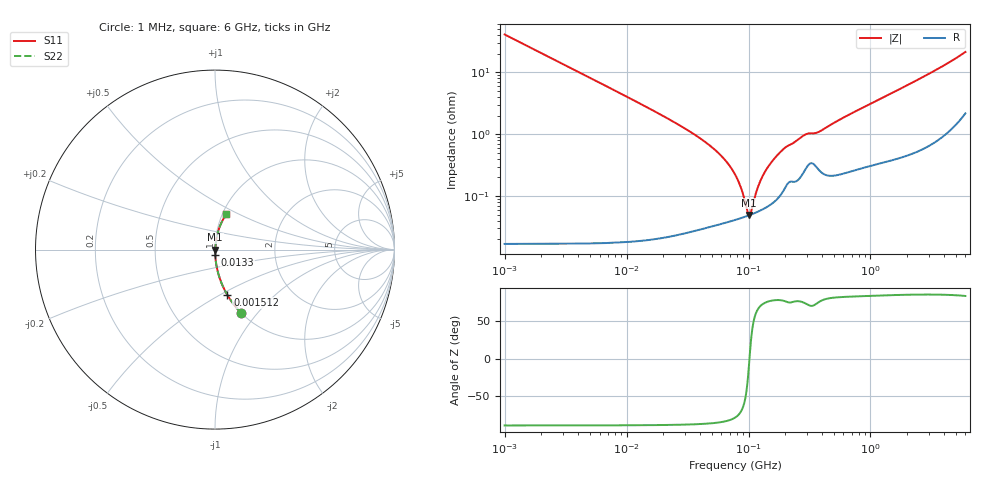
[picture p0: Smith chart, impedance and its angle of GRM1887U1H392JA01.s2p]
!Murata Part Number: GRM1887U1H392JA01
!These Parameters are Measured in Series Mode Connection
!Data Generated on Mar 30, 2021
!  o--ll--o
!Port1  Port2
!  o------o
!Operation Temp=25[degC], DC Bias Voltage=0[V]
!Freq. Start=1000[kHz] Stop=6[GHz] 401[Steps]
# Hz S RI R 50
!Freq.(Hz) S11(Real) S11(Imag) S21(Real) S21(Imag) S12(Real) S12(Imag) S22(Real) S22(Imag)
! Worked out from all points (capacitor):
!   401 points, 1 MHz to 6 GHz, reference 50 ohm
!   read as one part in series: C = 3.88 nF near 1.044 MHz
!   lowest |Z| = 49.6 mohm at 100.6 MHz (marker M1)
!   series resonance near 101.8 MHz, so ESL is about 630 pH
!   S11 on the Smith chart (normalised r, x): 1 MHz: 1.00, -0.82; 1.512 MHz: 1.00, -0.54; 13.3 MHz: 1.00, -0.06; 6 GHz: 1.04, +0.43
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1000000  0.1444 -0.3513  0.8556 0.3513  0.8556 0.3513  0.1444 -0.3513
1511688  0.0689 -0.2529  0.9311 0.2529  0.9311 0.2529  0.0689 -0.2529
4293785  0.0092 -0.0946  0.9908 0.0946  0.9908 0.0946  0.0092 -0.0946
1.330454e7  0.00111 -0.0303  0.9989 0.0303  0.9989 0.0303  0.00111 -0.0303
1.843659e7  0.000667 -0.0215  0.9993 0.0215  0.9993 0.0215  0.000667 -0.0215
4.800399e7  0.000358 -0.00659  0.9996 0.00659  0.9996 0.00659  0.000358 -0.00659
6.368941e7  0.000382 -0.00388  0.9996 0.00388  0.9996 0.00388  0.000382 -0.00388
7.745967e7  0.000414 -0.00221  0.9996 0.00221  0.9996 0.00221  0.000414 -0.00221
8.635799e7  0.00044 -0.00132  0.9996 0.00132  0.9996 0.00132  0.00044 -0.00132
9.627852e7  0.000472 -0.000446  0.9995 0.000446  0.9995 0.000446  0.000472 -0.000446
1.005588e8  0.000486 -9.87e-05  0.9995 9.87e-05  0.9995 9.87e-05  0.000486 -9.87e-05
1.050294e8  0.000502 0.000249  0.9995 -0.000249  0.9995 -0.000249  0.000502 0.000249
1.170949e8  0.00055 0.00112  0.9994 -0.00112  0.9994 -0.00112  0.00055 0.00112
1.277378e8  0.000599 0.00184  0.9994 -0.00184  0.9994 -0.00184  0.000599 0.00184
1.587717e8  0.00079 0.00372  0.9992 -0.00372  0.9992 -0.00372  0.00079 0.00372
2.016844e8  0.00144 0.006  0.9986 -0.006  0.9986 -0.006  0.00144 0.006
2.856264e8  0.00257 0.00927  0.9974 -0.00927  0.9974 -0.00927  0.00257 0.00927
3.325952e8  0.00347 0.00972  0.9965 -0.00972  0.9965 -0.00972  0.00347 0.00972
3.789555e8  0.00273 0.0106  0.9973 -0.0106  0.9973 -0.0106  0.00273 0.0106
1.428092e9  0.00559 0.0436  0.9944 -0.0436  0.9944 -0.0436  0.00559 0.0436
3.193267e9  0.0167 0.0985  0.9833 -0.0985  0.9833 -0.0985  0.0167 0.0985
6e9  0.0621 0.1956  0.9379 -0.1956  0.9379 -0.1956  0.0621 0.1956
